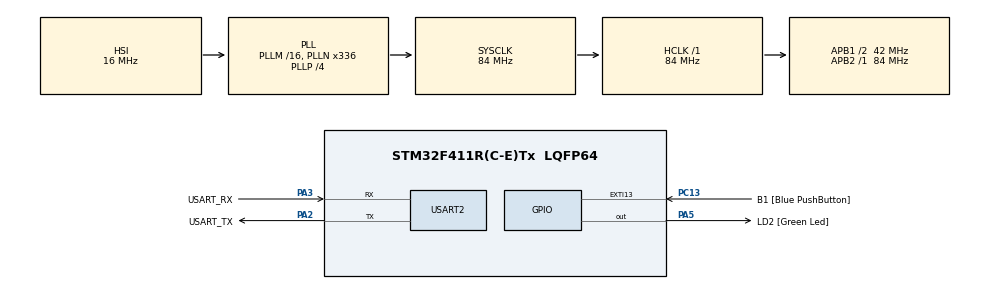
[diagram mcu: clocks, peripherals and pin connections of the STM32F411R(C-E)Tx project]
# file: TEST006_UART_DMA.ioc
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Dma.Request0=USART2_RX
Dma.USART2_RX.0.Direction=DMA_PERIPH_TO_MEMORY
Dma.USART2_RX.0.FIFOMode=DMA_FIFOMODE_DISABLE
Dma.USART2_RX.0.Instance=DMA1_Stream5
Dma.USART2_RX.0.MemDataAlignment=DMA_MDATAALIGN_BYTE
Dma.USART2_RX.0.MemInc=DMA_MINC_ENABLE
Dma.USART2_RX.0.Mode=DMA_CIRCULAR
Dma.USART2_RX.0.PeriphDataAlignment=DMA_PDATAALIGN_BYTE
Dma.USART2_RX.0.PeriphInc=DMA_PINC_DISABLE
Dma.USART2_RX.0.Priority=DMA_PRIORITY_LOW
Mcu.Family=STM32F4
Mcu.Name=STM32F411R(C-E)Tx
Mcu.Package=LQFP64
NVIC.DMA1_Stream5_IRQn=true\:0\:0\:false\:false\:true\:false\:true\:true
NVIC.EXTI15_10_IRQn=true\:0\:0\:false\:false\:true\:true\:true\:true
NVIC.PriorityGroup=NVIC_PRIORITYGROUP_0
NVIC.USART2_IRQn=true\:0\:0\:false\:false\:true\:true\:true\:true
PA13.GPIO_Label=TMS
PA13.Mode=Serial_Wire
PA13.Signal=SYS_JTMS-SWDIO
PA14.GPIO_Label=TCK
PA14.Mode=Serial_Wire
PA14.Signal=SYS_JTCK-SWCLK
PA2.GPIO_Label=USART_TX
PA2.Mode=Asynchronous
PA2.Signal=USART2_TX
PA3.GPIO_Label=USART_RX
PA3.Mode=Asynchronous
PA3.Signal=USART2_RX
PA5.GPIO_Label=LD2 [Green Led]
PA5.Signal=GPIO_Output
PB3.GPIO_Label=SWO
PB3.Signal=SYS_JTDO-SWO
PC13-ANTI_TAMP.GPIO_Label=B1 [Blue PushButton]
PC13-ANTI_TAMP.GPIO_ModeDefaultEXTI=GPIO_MODE_IT_FALLING
PC13-ANTI_TAMP.Signal=GPXTI13
PC14-OSC32_IN.Mode=LSE-External-Oscillator
PC14-OSC32_IN.Signal=RCC_OSC32_IN
PC15-OSC32_OUT.Mode=LSE-External-Oscillator
PC15-OSC32_OUT.Signal=RCC_OSC32_OUT
PH0\ -\ OSC_IN.Mode=HSE-External-Clock-Source
PH0\ -\ OSC_IN.Signal=RCC_OSC_IN
PH1\ -\ OSC_OUT.Mode=HSE-External-Clock-Source
PH1\ -\ OSC_OUT.Signal=RCC_OSC_OUT
ProjectManager.HeapSize=0x200
ProjectManager.StackSize=0x400
ProjectManager.TargetToolchain=STM32CubeIDE
RCC.48MHZClocksFreq_Value=84000000
RCC.AHBFreq_Value=84000000
RCC.APB1CLKDivider=RCC_HCLK_DIV2
RCC.APB1Freq_Value=42000000
RCC.APB1TimFreq_Value=84000000
RCC.APB2Freq_Value=84000000
RCC.APB2TimFreq_Value=84000000
RCC.CortexFreq_Value=84000000
RCC.FLatency-AdvancedSettings=FLASH_LATENCY_2
RCC.HCLKFreq_Value=84000000
RCC.HSE_VALUE=8000000
RCC.HSI_VALUE=16000000
RCC.PLLN=336
RCC.PLLP=RCC_PLLP_DIV4
RCC.SYSCLKFreq_VALUE=84000000
RCC.SYSCLKSource=RCC_SYSCLKSOURCE_PLLCLK
RCC.VCOOutputFreq_Value=336000000
USART2.VirtualMode=VM_ASYNC
board=NUCLEO-F411RE

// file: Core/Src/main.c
/* USER CODE BEGIN Header */
/**
  ******************************************************************************
  * @file           : main.c
  * @brief          : Main program body
  ******************************************************************************
  * @attention
  *
  * Copyright (c) 2024 STMicroelectronics.
  * All rights reserved.
  *
  * This software is licensed under terms that can be found in the LICENSE file
  * in the root directory of this software component.
  * If no LICENSE file comes with this software, it is provided AS-IS.
  *
  ******************************************************************************
  */
/* USER CODE END Header */
#include "main.h"

/* USER CODE BEGIN Includes */
#include "myLib.h"
/* USER CODE END Includes */

/* USER CODE BEGIN PM */

extern myBuffer Buf;   //myLib union buf

/* USER CODE END PM */

UART_HandleTypeDef huart2;
DMA_HandleTypeDef hdma_usart2_rx;

void SystemClock_Config(void);
static void MX_GPIO_Init(void);
static void MX_DMA_Init(void);
static void MX_USART2_UART_Init(void);

/* USER CODE BEGIN 0 */
void HAL_UART_RxCpltCallback(UART_HandleTypeDef *huart)
{

}
int n = 1;
void HAL_GPIO_EXTI_Callback(uint16_t GPIO_Pin)
{
	if(GPIO_Pin == B1_Pin) // n = 1, 2, 4, 8(Echo mode)
	{
		cls();
		if(( n <<= 1) > 8) n = 1; // n <<= 1 --> n *= 2
	}
}

/* USER CODE END 0 */

int main(void)
{

  /* MCU Configuration--------------------------------------------------------*/

  /* Reset of all peripherals, Initializes the Flash interface and the Systick. */
  HAL_Init();

  /* Configure the system clock */
  SystemClock_Config();

  /* Initialize all configured peripherals */
  MX_GPIO_Init();
  MX_DMA_Init();
  MX_USART2_UART_Init();
  /* USER CODE BEGIN 2 */
  ProgramStart("UART - DMA");
  HAL_UART_Receive_DMA(&huart2, &Buf, MAX_BUF);
  Cursor(0);
  /* USER CODE END 2 */

  /* Infinite loop */
  /* USER CODE BEGIN WHILE */
  cls();
  printf("Memory dump mode\r\n");
  while (1)
  {
    /* USER CODE END WHILE */

    /* USER CODE BEGIN 3 */
	if(n == 8) // KBD echo mode
	{
		char arr[100];
		if(GetBuffer(arr)) // if GetBuffer(arr) == 1
		{
			printf("%s\r\n", arr);
		}
		HAL_Delay(500);
	}
	else
	{
      printf("\033[3;0H\n");
      Dump(n);
      HAL_Delay(200);
	}
  }
  /* USER CODE END 3 */
}

void SystemClock_Config(void)
{
  RCC_OscInitTypeDef RCC_OscInitStruct = {0};
  RCC_ClkInitTypeDef RCC_ClkInitStruct = {0};

  /** Configure the main internal regulator output voltage
  */
  __HAL_RCC_PWR_CLK_ENABLE();
  __HAL_PWR_VOLTAGESCALING_CONFIG(PWR_REGULATOR_VOLTAGE_SCALE1);

  /** Initializes the RCC Oscillators according to the specified parameters
  * in the RCC_OscInitTypeDef structure.
  */
  RCC_OscInitStruct.OscillatorType = RCC_OSCILLATORTYPE_HSI;
  RCC_OscInitStruct.HSIState = RCC_HSI_ON;
  RCC_OscInitStruct.HSICalibrationValue = RCC_HSICALIBRATION_DEFAULT;
  RCC_OscInitStruct.PLL.PLLState = RCC_PLL_ON;
  RCC_OscInitStruct.PLL.PLLSource = RCC_PLLSOURCE_HSI;
  RCC_OscInitStruct.PLL.PLLM = 16;
  RCC_OscInitStruct.PLL.PLLN = 336;
  RCC_OscInitStruct.PLL.PLLP = RCC_PLLP_DIV4;
  RCC_OscInitStruct.PLL.PLLQ = 4;
  if (HAL_RCC_OscConfig(&RCC_OscInitStruct) != HAL_OK)
  {
    Error_Handler();
  }

  /** Initializes the CPU, AHB and APB buses clocks
  */
  RCC_ClkInitStruct.ClockType = RCC_CLOCKTYPE_HCLK|RCC_CLOCKTYPE_SYSCLK
                              |RCC_CLOCKTYPE_PCLK1|RCC_CLOCKTYPE_PCLK2;
  RCC_ClkInitStruct.SYSCLKSource = RCC_SYSCLKSOURCE_PLLCLK;
  RCC_ClkInitStruct.AHBCLKDivider = RCC_SYSCLK_DIV1;
  RCC_ClkInitStruct.APB1CLKDivider = RCC_HCLK_DIV2;
  RCC_ClkInitStruct.APB2CLKDivider = RCC_HCLK_DIV1;

  if (HAL_RCC_ClockConfig(&RCC_ClkInitStruct, FLASH_LATENCY_2) != HAL_OK)
  {
    Error_Handler();
  }
}

static void MX_USART2_UART_Init(void)
{

  huart2.Instance = USART2;
  huart2.Init.BaudRate = 115200;
  huart2.Init.WordLength = UART_WORDLENGTH_8B;
  huart2.Init.StopBits = UART_STOPBITS_1;
  huart2.Init.Parity = UART_PARITY_NONE;
  huart2.Init.Mode = UART_MODE_TX_RX;
  huart2.Init.HwFlowCtl = UART_HWCONTROL_NONE;
  huart2.Init.OverSampling = UART_OVERSAMPLING_16;
  if (HAL_UART_Init(&huart2) != HAL_OK)
  {
    Error_Handler();
  }

}

static void MX_DMA_Init(void)
{

  /* DMA controller clock enable */
  __HAL_RCC_DMA1_CLK_ENABLE();

  /* DMA interrupt init */
  /* DMA1_Stream5_IRQn interrupt configuration */
  HAL_NVIC_SetPriority(DMA1_Stream5_IRQn, 0, 0);
  HAL_NVIC_EnableIRQ(DMA1_Stream5_IRQn);

}

static void MX_GPIO_Init(void)
{
  GPIO_InitTypeDef GPIO_InitStruct = {0};

  /* GPIO Ports Clock Enable */
  __HAL_RCC_GPIOC_CLK_ENABLE();
  __HAL_RCC_GPIOH_CLK_ENABLE();
  __HAL_RCC_GPIOA_CLK_ENABLE();
  __HAL_RCC_GPIOB_CLK_ENABLE();

  /*Configure GPIO pin Output Level */
  HAL_GPIO_WritePin(LD2_GPIO_Port, LD2_Pin, GPIO_PIN_RESET);

  /*Configure GPIO pin : B1_Pin */
  GPIO_InitStruct.Pin = B1_Pin;
  GPIO_InitStruct.Mode = GPIO_MODE_IT_FALLING;
  GPIO_InitStruct.Pull = GPIO_NOPULL;
  HAL_GPIO_Init(B1_GPIO_Port, &GPIO_InitStruct);

  /*Configure GPIO pin : LD2_Pin */
  GPIO_InitStruct.Pin = LD2_Pin;
  GPIO_InitStruct.Mode = GPIO_MODE_OUTPUT_PP;
  GPIO_InitStruct.Pull = GPIO_NOPULL;
  GPIO_InitStruct.Speed = GPIO_SPEED_FREQ_LOW;
  HAL_GPIO_Init(LD2_GPIO_Port, &GPIO_InitStruct);

  /* EXTI interrupt init*/
  HAL_NVIC_SetPriority(EXTI15_10_IRQn, 0, 0);
  HAL_NVIC_EnableIRQ(EXTI15_10_IRQn);

}

void Error_Handler(void)
{
  __disable_irq();
  while (1)
  {
  }
}
